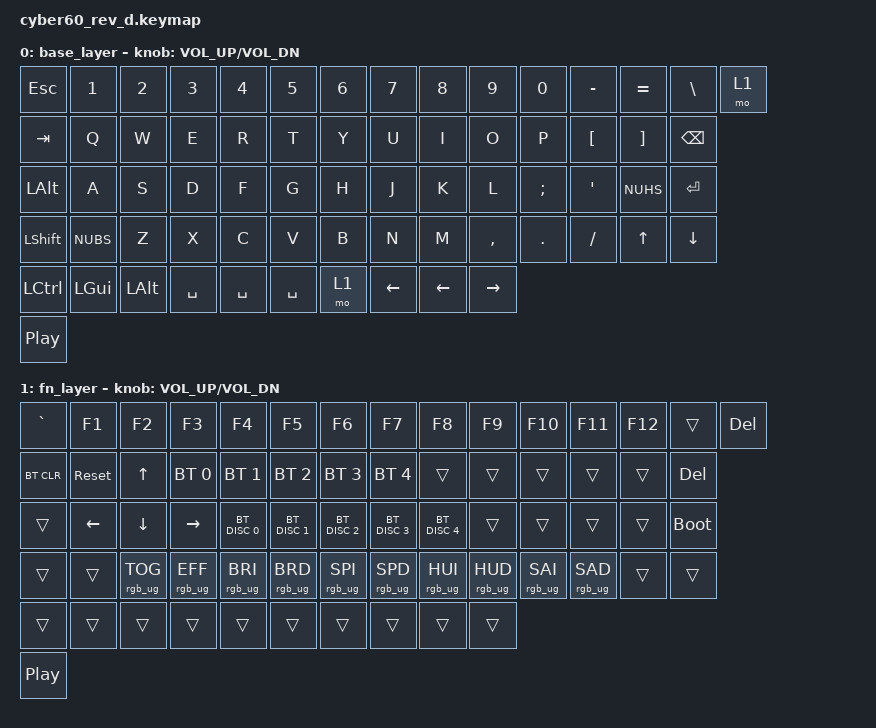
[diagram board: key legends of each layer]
#include <behaviors.dtsi>
#include <dt-bindings/zmk/bt.h>
#include <dt-bindings/zmk/keys.h>
#include <dt-bindings/zmk/rgb.h>

#define FN1 1

/ {
    keymap {
        compatible = "zmk,keymap";

        base_layer {
            // Base layer
            // ------------------------------------------------------------------------------------------
            // | ESC |  1  |  2  |  3  |  4  |  5  |  6  |  7  |  8  |  9  |  0  |  -  |  =  |   BKSP   |
            // |  TAB |  Q  |  W  |  E  |  R  |  T  |  Y  |  U  |  I  |  O  |  P  |  [  |  ]  |   "|"   |
            // | CAPS  |  A  |  S  |  D  |  F  |  G  |  H  |  J  |  K  |  L  |  ;  |  '  |NUHS| ENTER   |
            // | SHIFT |NUBS| Z |  X  |  C  |  V  |  B  |  N  |  M  |  ,  |  .  |  /  |    Shift   | FN |
            // |  LCTL  |  LWIN  |  LALT  | SPACE  | SPACE |    SPACE   |  RALT | FN  |   RWIN  | RCTRL |
            // | Rotary | (<-- Rotary switch) ----------------------------------------------------------- 

            bindings = <
&kp ESC       &kp N1    &kp N2    &kp N3     &kp N4     &kp N5     &kp N6  &kp N7          &kp N8    &kp N9           &kp N0    &kp MINUS  &kp EQUAL     &kp BSLH       &mo 1
&kp TAB       &kp Q     &kp W     &kp E      &kp R      &kp T      &kp Y   &kp U           &kp I     &kp O            &kp P     &kp LBKT   &kp RBKT      &kp BACKSPACE
&kp LEFT_ALT  &kp A     &kp S     &kp D      &kp F      &kp G      &kp H   &kp J           &kp K     &kp L            &kp SEMI  &kp SQT    &kp NUHS      &kp RET
&kp LSHFT     &kp NUBS  &kp Z     &kp X      &kp C      &kp V      &kp B   &kp N           &kp M     &kp COMMA        &kp DOT   &kp FSLH   &kp UP_ARROW  &kp DOWN
&kp LCTRL     &kp LGUI  &kp LALT  &kp SPACE  &kp SPACE  &kp SPACE  &mo 1   &kp LEFT_ARROW  &kp LEFT  &kp RIGHT_ARROW
&kp C_PP
            >;

            sensor-bindings = <&inc_dec_kp C_VOL_UP C_VOL_DN>;
        };

        fn_layer {
            // Function layer
            // ------------------------------------------------------------------------------------------
            // | RESET | F1 |  F2 |  F3 |  F4 |  F5 |  F6 |  F7 |  F8 |  F9 | F10 | F11 | F12 |TRNS | DEL |
            // |BT_CLR |TRNS | UP  | BT0 | BT1 | BT2 | BT3 | BT4 | TRNS | TRNS | TRNS | TRNS | TRNS | TRNS|
            // | BOOTL  |LEFT |DOWN |RIGHT|TRNS |TRNS |TRNS | TRNS| TRNS |TRNS| TRNS |TRNS | TRNS | TRNS  |
            // | TRNS |TRNS|TRNS|TRNS|TRNS | TRNS| TRNS | TRNS |  TRNS| TRNS | TRNS| TRNS |   TRNS   |TRNS|
            // |  TRNS | TRNS | TRNS |      TRNS      | TRNS |     TRNS     |  TRNS |  TRNS | TRNS | TRNS |
            // | Rotary | (<-- Rotary switch) ----------------------------------------------------------- 

            bindings = <
&kp GRAVE   &kp F1      &kp F2           &kp F3           &kp F4           &kp F5           &kp F6           &kp F7           &kp F8           &kp F9           &kp F10          &kp F11          &kp F12  &trans       &kp DEL
&bt BT_CLR  &sys_reset  &kp UP           &bt BT_SEL 0     &bt BT_SEL 1     &bt BT_SEL 2     &bt BT_SEL 3     &bt BT_SEL 4     &trans           &trans           &trans           &trans           &trans   &kp DELETE
&trans      &kp LEFT    &kp DOWN         &kp RIGHT        &bt BT_DISC 0    &bt BT_DISC 1    &bt BT_DISC 2    &bt BT_DISC 3    &bt BT_DISC 4    &trans           &trans           &trans           &trans   &bootloader
&trans      &trans      &rgb_ug RGB_TOG  &rgb_ug RGB_EFF  &rgb_ug RGB_BRI  &rgb_ug RGB_BRD  &rgb_ug RGB_SPI  &rgb_ug RGB_SPD  &rgb_ug RGB_HUI  &rgb_ug RGB_HUD  &rgb_ug RGB_SAI  &rgb_ug RGB_SAD  &trans   &trans
&trans      &trans      &trans           &trans           &trans           &trans           &trans           &trans           &trans           &trans
&kp C_PP
            >;

            sensor-bindings = <&inc_dec_kp C_VOL_UP C_VOL_DN>;
        };
    };
};
